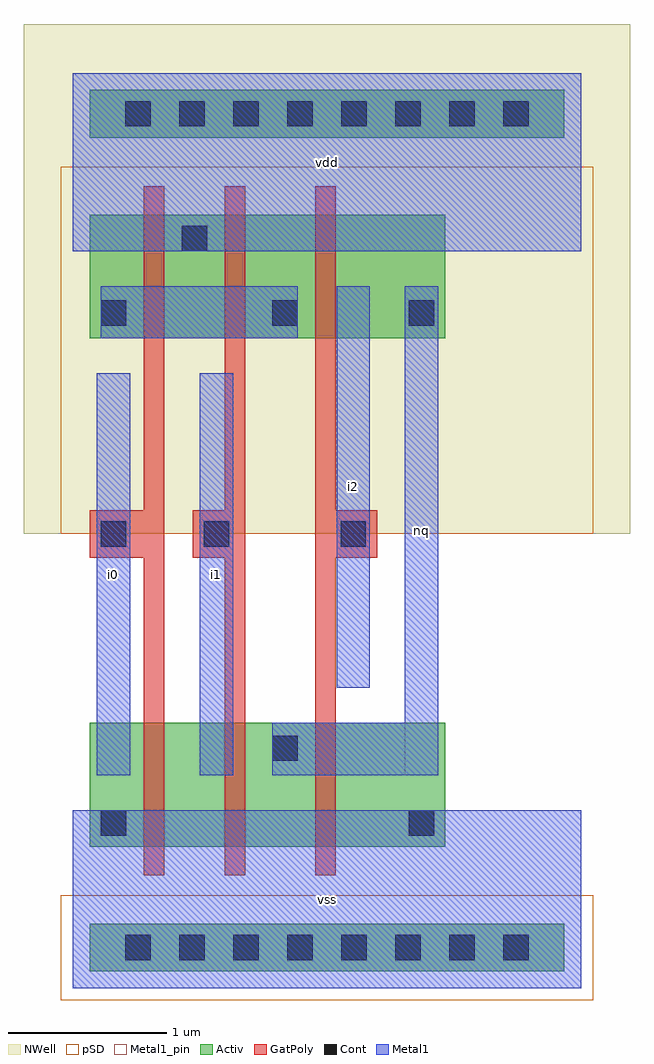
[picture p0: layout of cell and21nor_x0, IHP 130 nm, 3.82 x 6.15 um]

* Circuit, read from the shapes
.subckt and21nor_x0 i0 i1 i2 nq vdd vss
XM1 n1 i0 vss vss sg13_lv_nmos w=0.78u l=0.13u
XM2 nq i1 n1 vss sg13_lv_nmos w=0.78u l=0.13u
XM3 vss i2 nq vss sg13_lv_nmos w=0.78u l=0.13u
XM4 vdd i0 n2 vdd sg13_lv_pmos w=0.78u l=0.13u
XM5 n2 i1 vdd vdd sg13_lv_pmos w=0.78u l=0.13u
XM6 nq i2 n2 vdd sg13_lv_pmos w=0.78u l=0.13u
.ends

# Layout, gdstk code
import gdstk
lib = gdstk.Library(unit=1e-6, precision=1e-09)
def R(c, l, rs):  # rectangles x0, y0, x1, y1
    for r in rs: c.add(gdstk.rectangle(r[:2], r[2:], *l))
def A(c, l, x, y, w, h, nx, ny, dx, dy):  # array of equal rectangles
    R(c, l, [(x+i*dx, y+j*dy, x+i*dx+w, y+j*dy+h) for i in range(nx) for j in range(ny)])
def P(c, l, *ps):  # polygons
    for p in ps: c.add(gdstk.Polygon(p, *l))
Activ = (1, 0)
GatPoly = (5, 0)
Cont = (6, 0)
Metal1 = (8, 0)
Metal1_pin = (8, 2)
pSD = (14, 0)
NWell = (31, 0)

and21nor_x0 = lib.new_cell('and21nor_x0')
R(and21nor_x0, Activ, [(0.105,0.105,3.095,0.405), (0.105,0.89,2.345,1.67), (0.105,4.09,2.345,4.87), (0.105,5.355,3.095,5.655)])
P(and21nor_x0, GatPoly, [(0.445,0.71),(0.445,2.71),(0.105,2.71),(0.105,3.01),(0.445,3.01),(0.445,5.05),(0.575,5.05),(0.575,0.71)],
  [(0.955,0.71),(0.955,2.71),(0.755,2.71),(0.755,3.01),(0.955,3.01),(0.955,5.05),(1.085,5.05),(1.085,0.71)],
  [(1.525,0.71),(1.525,5.05),(1.655,5.05),(1.655,3.01),(1.915,3.01),(1.915,2.71),(1.655,2.71),(1.655,0.71)])
A(and21nor_x0, Cont, 0.33, 0.175, 0.16, 0.16, 8, 2, 0.34, 5.25)
R(and21nor_x0, Cont, [(0.175,0.96,0.335,1.12), (2.115,0.96,2.275,1.12), (1.255,1.43,1.415,1.59), (0.175,2.78,0.335,2.94), (0.825,2.78,0.985,2.94), (1.685,2.78,1.845,2.94), (0.175,4.17,0.335,4.33), (1.255,4.17,1.415,4.33), (2.115,4.17,2.275,4.33), (0.685,4.64,0.845,4.8)])
R(and21nor_x0, Metal1, [(0,0,3.2,1.12), (0.15,1.34,0.36,3.87), (0.8,1.34,1.01,3.87), (1.66,1.89,1.87,4.42), (0.175,4.09,1.415,4.42), (0,4.64,3.2,5.76)])
P(and21nor_x0, Metal1, [(1.255,1.34),(1.255,1.67),(2.09,1.67),(2.09,4.42),(2.3,4.42),(2.3,1.34)])
R(and21nor_x0, Metal1_pin, [(0,0,3.2,1.12), (0.15,1.34,0.36,3.87), (0.8,1.34,1.01,3.87), (2.09,1.34,2.3,4.42), (1.66,1.89,1.87,4.42), (0,4.64,3.2,5.76)])
R(and21nor_x0, pSD, [(-0.075,-0.075,3.275,0.585), (-0.075,2.86,3.275,5.17)])
R(and21nor_x0, NWell, [(-0.31,2.86,3.51,6.07)])
and21nor_x0.add(gdstk.Label('vss', (1.6,0.56), layer=8, texttype=2))
and21nor_x0.add(gdstk.Label('vdd', (1.6,5.2), layer=8, texttype=2))
and21nor_x0.add(gdstk.Label('i0', (0.255,2.605), layer=8, texttype=2))
and21nor_x0.add(gdstk.Label('nq', (2.195,2.88), layer=8, texttype=2))
and21nor_x0.add(gdstk.Label('i1', (0.905,2.605), layer=8, texttype=2))
and21nor_x0.add(gdstk.Label('i2', (1.765,3.155), layer=8, texttype=2))

lib.write_gds('and21nor_x0.gds')
